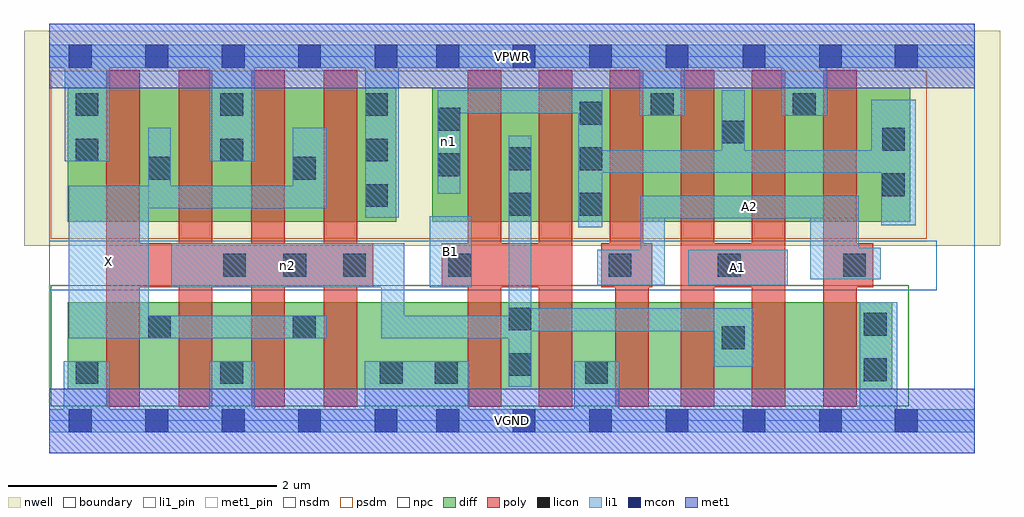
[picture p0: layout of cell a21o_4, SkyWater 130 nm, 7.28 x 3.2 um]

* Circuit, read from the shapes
.subckt a21o_4 A1 A2 B1 VGND VPWR X n1 n2
XM1 X n2 VGND VSUBS sky130_fd_pr__nfet_01v8 w=0.65 l=0.25 m=4
XM2 n2 B1 VGND VSUBS sky130_fd_pr__nfet_01v8 w=0.65 l=0.25 m=2
XM3 n3 A2 VGND VSUBS sky130_fd_pr__nfet_01v8 w=0.65 l=0.25
XM4 n2 A1 n3 VSUBS sky130_fd_pr__nfet_01v8 w=0.65 l=0.25
XM5 n4 A1 n2 VSUBS sky130_fd_pr__nfet_01v8 w=0.65 l=0.25
XM6 VGND A2 n4 VSUBS sky130_fd_pr__nfet_01v8 w=0.65 l=0.25
XM7 X n2 VPWR n5 sky130_fd_pr__pfet_01v8 w=1 l=0.25 m=4
XM8 n2 B1 n1 n5 sky130_fd_pr__pfet_01v8 w=1 l=0.25 m=2
XM9 VPWR A2 n1 n5 sky130_fd_pr__pfet_01v8 w=1 l=0.25 m=2
XM10 n1 A1 VPWR n5 sky130_fd_pr__pfet_01v8 w=1 l=0.25 m=2
.ends

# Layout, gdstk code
import gdstk
lib = gdstk.Library(unit=1e-6, precision=1e-09)
def R(c, l, rs):  # rectangles x0, y0, x1, y1
    for r in rs: c.add(gdstk.rectangle(r[:2], r[2:], *l))
def A(c, l, x, y, w, h, nx, ny, dx, dy):  # array of equal rectangles
    R(c, l, [(x+i*dx, y+j*dy, x+i*dx+w, y+j*dy+h) for i in range(nx) for j in range(ny)])
nwell = (64, 20)
diff = (65, 20)
poly = (66, 20)
licon = (66, 44)
li1_pin = (67, 16)
li1 = (67, 20)
mcon = (67, 44)
met1_pin = (68, 16)
met1 = (68, 20)
nsdm = (93, 44)
psdm = (94, 20)
npc = (95, 20)
boundary = (235, 4)

a21o_4 = lib.new_cell('a21o_4')
R(a21o_4, nwell, [(-0.19,1.305,7.09,2.91), (0,1.305,6.9,2.91)])
R(a21o_4, diff, [(0.135,0.235,6.285,0.885), (0.135,1.485,2.585,2.485), (2.855,1.485,6.42,2.485)])
A(a21o_4, poly, 0.425, 0.105, 0.25, 2.51, 4, 1, 0.54, 0)
A(a21o_4, poly, 4.71, 0.105, 0.25, 2.51, 3, 1, 0.53, 0)
R(a21o_4, poly, [(3.12,0.105,3.37,2.615), (3.65,0.105,3.9,2.615), (4.22,0.105,4.47,1.325), (0.425,0.995,2.415,1.325), (2.925,0.995,3.9,1.325), (4.115,0.995,4.495,1.325), (4.18,0.995,4.43,2.615), (4.71,0.995,5.49,1.325), (5.77,0.995,6.145,1.325)])
A(a21o_4, licon, 3.955, 1.53, 0.17, 0.17, 1, 3, 0, 0.34)
A(a21o_4, licon, 0.195, 1.935, 0.17, 0.17, 3, 2, 1.08, 0.34)
R(a21o_4, licon, [(0.195,0.275,0.365,0.445), (1.275,0.275,1.445,0.445), (2.465,0.275,2.635,0.445), (2.875,0.275,3.045,0.445), (3.995,0.275,4.165,0.445), (6.075,0.295,6.245,0.465), (3.425,0.335,3.595,0.505), (5.015,0.535,5.185,0.705), (0.735,0.615,0.905,0.785), (1.815,0.615,1.985,0.785), (6.075,0.635,6.245,0.805), (3.425,0.675,3.595,0.845), (1.295,1.075,1.465,1.245), (1.745,1.075,1.915,1.245), (2.19,1.075,2.36,1.245), (2.975,1.075,3.145,1.245), (4.17,1.075,4.34,1.245), (4.985,1.075,5.155,1.245), (5.92,1.075,6.09,1.245), (3.425,1.53,3.595,1.7), (2.355,1.595,2.525,1.765), (6.21,1.675,6.38,1.845), (0.735,1.8,0.905,1.97), (1.815,1.8,1.985,1.97), (2.895,1.825,3.065,1.995), (3.425,1.87,3.595,2.04), (6.21,2.015,6.38,2.185), (5.015,2.07,5.185,2.24), (2.895,2.165,3.065,2.335), (4.485,2.275,4.655,2.445), (5.545,2.275,5.715,2.445)])
R(a21o_4, li1_pin, [(0.145,0.615,0.74,1.755), (2.835,0.995,3.15,1.525), (4.765,1.01,5.505,1.275), (4.41,1.51,6.035,1.68)])
R(a21o_4, li1, [(0,-0.085,6.9,0.085), (0.105,-0.085,0.45,0.445), (1.19,-0.085,1.53,0.445), (2.35,-0.085,3.13,0.445), (3.915,-0.085,4.25,0.445), (6.045,-0.085,6.325,0.885), (3.425,0.255,3.595,2.125), (4.96,0.405,5.25,0.84), (0.145,0.615,0.74,1.755), (0.145,0.615,2.07,0.785), (2.475,0.615,3.595,0.785), (2.475,0.615,2.645,1.325), (3.425,0.67,5.25,0.84), (0.91,0.995,2.645,1.325), (2.835,0.995,3.15,1.525), (4.085,1.01,4.59,1.275), (4.41,1.01,4.59,1.68), (4.765,1.01,5.505,1.275), (5.675,1.055,6.035,1.68), (5.675,1.055,6.2,1.29), (3.945,1.445,4.125,2.465), (6.205,1.46,6.46,2.395), (4.41,1.51,6.035,1.68), (2.355,1.515,2.605,2.805), (0.145,1.585,2.07,1.755), (0.735,1.585,0.905,2.185), (1.815,1.585,2.07,2.185), (2.895,1.695,3.065,2.465), (3.945,1.85,6.46,2.02), (5.015,1.85,5.185,2.465), (6.13,1.85,6.46,2.395), (0.115,1.935,0.45,2.805), (1.19,1.935,1.53,2.805), (4.4,2.275,4.74,2.805), (5.46,2.275,5.8,2.805), (2.895,2.295,4.125,2.465), (0,2.635,6.9,2.805)])
A(a21o_4, mcon, 0.145, -0.085, 0.17, 0.17, 5, 2, 0.57, 2.72)
A(a21o_4, mcon, 2.885, -0.085, 0.17, 0.17, 4, 2, 0.57, 2.72)
R(a21o_4, mcon, [(5.17,-0.085,5.34,0.085), (5.74,-0.085,5.91,0.085), (6.305,-0.085,6.475,0.085), (5.17,2.635,5.34,2.805), (5.74,2.635,5.91,2.805), (6.305,2.635,6.475,2.805)])
R(a21o_4, met1_pin, [(0,-0.24,6.9,0.24), (0,2.48,6.9,2.96)])
R(a21o_4, met1, [(0,-0.24,6.9,0.24), (0,2.48,6.9,2.96)])
R(a21o_4, nsdm, [(0.01,0.11,6.41,1.01)])
R(a21o_4, psdm, [(0.01,1.36,6.545,2.61)])
R(a21o_4, npc, [(0,0.975,6.62,1.345)])
R(a21o_4, boundary, [(0,0,6.9,2.72)])
a21o_4.add(gdstk.Label('A1', (5.135,1.142), layer=67, texttype=5))
a21o_4.add(gdstk.Label('A2', (5.222,1.595), layer=67, texttype=5))
a21o_4.add(gdstk.Label('B1', (2.992,1.26), layer=67, texttype=5))
a21o_4.add(gdstk.Label('X', (0.442,1.185), layer=67, texttype=5))
a21o_4.add(gdstk.Label('n2', (1.777,1.16), layer=67, texttype=5))
a21o_4.add(gdstk.Label('n1', (2.98,2.08), layer=67, texttype=5))
a21o_4.add(gdstk.Label('VPWR', (3.45,2.72), layer=68, texttype=5))
a21o_4.add(gdstk.Label('VGND', (3.45,0), layer=68, texttype=5))
a21o_4.add(gdstk.Label('A1', (5.135,1.142), layer=67, texttype=16))
a21o_4.add(gdstk.Label('A2', (5.222,1.595), layer=67, texttype=16))
a21o_4.add(gdstk.Label('B1', (2.992,1.26), layer=67, texttype=16))
a21o_4.add(gdstk.Label('X', (0.442,1.185), layer=67, texttype=16))
a21o_4.add(gdstk.Label('VPWR', (3.45,2.72), layer=68, texttype=16))
a21o_4.add(gdstk.Label('VGND', (3.45,0), layer=68, texttype=16))

lib.write_gds('a21o_4.gds')
